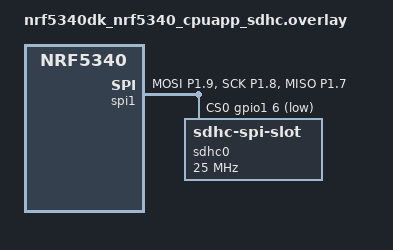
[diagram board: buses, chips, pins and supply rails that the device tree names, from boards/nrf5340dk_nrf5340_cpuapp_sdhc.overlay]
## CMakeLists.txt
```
# SPDX-License-Identifier: Apache-2.0

cmake_minimum_required(VERSION 3.20.0)

find_package(Zephyr REQUIRED HINTS $ENV{ZEPHYR_BASE})
project(i2s_output)

target_sources(app PRIVATE src/main.c src/sdhc.c)
```

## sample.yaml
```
sample:
  description: I2S Output Sample
  name: i2s_output
common:
  tags:
    - drivers
    - i2s
tests:
  sample.drivers.i2s.output:
    filter: dt_alias_exists("i2s-tx")
    integration_platforms:
      - mimxrt1060_evk@B/mimxrt1062/qspi
      - nrf5340dk/nrf5340/cpuapp
    harness: console
    harness_config:
      type: one_line
      regex:
        - "All I2S blocks written"
```

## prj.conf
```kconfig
CONFIG_DISK_ACCESS=y
CONFIG_LOG=y
CONFIG_FILE_SYSTEM=y
CONFIG_FAT_FILESYSTEM_ELM=y
CONFIG_PRINTK=y
CONFIG_MAIN_STACK_SIZE=16384
CONFIG_I2S=y
```

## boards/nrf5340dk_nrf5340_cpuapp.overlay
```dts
/*
 * Copyright (c) 2021 Nordic Semiconductor ASA
 *
 * SPDX-License-Identifier: Apache-2.0
 */

&pinctrl {
	/* i2c0_default_alt: i2c0_default_alt { */
	/* 	group1 { */
	/* 		psels = <NRF_PSEL(TWIM_SDA, 0, 25)>, */
	/* 			<NRF_PSEL(TWIM_SCL, 0, 26)>; */
	/* 	}; */
	/* }; */
	/**/
	/* i2c0_sleep_alt: i2c0_sleep_alt { */
	/* 	group1 { */
	/* 		psels = <NRF_PSEL(TWIM_SDA, 0, 25)>, */
	/* 			<NRF_PSEL(TWIM_SCL, 0, 26)>; */
	/* 		low-power-enable; */
	/* 	}; */
	/* }; */
	/**/
	i2s0_default_alt: i2s0_default_alt {
		group1 {
			psels = <NRF_PSEL(I2S_SCK_M, 1, 14)>,
				<NRF_PSEL(I2S_LRCK_M, 1, 13)>,
				<NRF_PSEL(I2S_SDOUT, 1, 15)>,
				<NRF_PSEL(I2S_SDIN, 1, 12)>;
		};
	};
};

/* &i2c1 { */
/* 	status = "okay"; */
/* 	pinctrl-0 = <&i2c0_default_alt>; */
/* 	pinctrl-1 = <&i2c0_sleep_alt>; */
/* 	pinctrl-names = "default", "sleep"; */
/**/
/* 	wm8731: wm8731@1a { */
/* 		compatible = "wolfson,wm8731"; */
/* 		reg = <0x1a>; */
/* 	}; */
/* }; */

&clock {
	hfclkaudio-frequency = <11289600>;
};

i2s_tx: &i2s0 {
	status = "okay";
	pinctrl-0 = <&i2s0_default_alt>;
	pinctrl-names = "default";
	clock-source = "ACLK";
};
```

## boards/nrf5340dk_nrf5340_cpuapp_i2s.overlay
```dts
/*
 * Copyright (c) 2021 Nordic Semiconductor ASA
 *
 * SPDX-License-Identifier: Apache-2.0
 */

&pinctrl {
	i2s0_default_alt: i2s0_default_alt {
		group1 {
			psels = <NRF_PSEL(I2S_SCK_M, 1, 14)>,
				<NRF_PSEL(I2S_LRCK_M, 1, 13)>,
				<NRF_PSEL(I2S_SDOUT, 1, 15)>,
				<NRF_PSEL(I2S_SDIN, 1, 12)>;

		};
	};
};

&clock {
	hfclkaudio-frequency = <11289600>;
};

i2s_tx: &i2s0 {
	status = "okay";
	pinctrl-0 = <&i2s0_default_alt>;
	pinctrl-names = "default";
	clock-source = "ACLK";
};
```

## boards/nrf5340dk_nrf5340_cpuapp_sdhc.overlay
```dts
/*
 * Copyright (c) 2019 Tavish Naruka <tavishnaruka@gmail.com>
 *
 * SPDX-License-Identifier: Apache-2.0
 */
&pinctrl {
	spi1_default: spi1_default {
		group1 {
			psels = <NRF_PSEL(SPIM_MOSI, 1, 9)>,
					<NRF_PSEL(SPIM_SCK, 1, 8)>,
					<NRF_PSEL(SPIM_MISO, 1, 7)>;
		};
	};

	spi1_sleep: spi1_sleep {
		group1 {
			psels = <NRF_PSEL(SPIM_MOSI, 1, 9)>,
					<NRF_PSEL(SPIM_SCK, 1, 8)>,
					<NRF_PSEL(SPIM_MISO, 1, 7)>;
		};
	};
};

&i2c1 {
	status = "disabled";
};

&spi1 {
	status = "okay";
	cs-gpios = <&gpio1 6 GPIO_ACTIVE_LOW>;
	pinctrl-0 = <&spi1_default>;
	pinctrl-1 = <&spi1_sleep>;
	pinctrl-names = "default", "sleep"; 

	sdhc0: sdhc@0 {
		compatible = "zephyr,sdhc-spi-slot";
		reg = <0>;
		status = "okay";
		mmc {
			compatible = "zephyr,sdmmc-disk";
			disk-name = "SD";
			status = "okay";
		};
		spi-max-frequency = <DT_FREQ_M(25)>;
	};
};
```

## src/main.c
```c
/*
 * Copyright 2023 NXP
 *
 * SPDX-License-Identifier: Apache-2.0
 */

#include <stdio.h>
#include <zephyr/kernel.h>
#include <zephyr/drivers/i2s.h>
#include <zephyr/fs/fs.h>
#include <zephyr/sys/iterable_sections.h>
#include <string.h>
#include <zephyr/logging/log.h>

#include "block.h"
#include "sdhc.h"

LOG_MODULE_REGISTER(main);

int main(void)
{
	if (init_sdhc() != 0)
		return -1;
	
	printk("Inited SDHC");

	struct fs_file_t wavfile;
	fs_file_t_init(&wavfile);

    const char *wav_path = DISK_MOUNT_PT"/music.wav";

	int ret;
    ret = fs_open(&wavfile, wav_path, FS_O_READ);
    if (ret < 0) {
        LOG_ERR("Failed to open file %s (%d)", wav_path, ret);
        return -1;
    }	

	LOG_INF("Opened %s", wav_path);

	uint8_t header[44];
    ssize_t read_bytes = fs_read(&wavfile, header, sizeof(header));
    if (read_bytes < sizeof(header)) {
        LOG_ERR("Failed to read full WAV header");
        fs_close(&wavfile);
        return -1;
    }

	    if (memcmp(header, "RIFF", 4) != 0 || memcmp(&header[8], "WAVE", 4) != 0) {
        LOG_ERR("Not a valid WAV file");
        fs_close(&wavfile);
        return -1;
    }

    uint16_t audio_format = header[20] | (header[21] << 8);
    uint16_t num_channels = header[22] | (header[23] << 8);
    uint32_t sample_rate  = header[24] | (header[25] << 8) | (header[26] << 16) | (header[27] << 24);
    uint16_t bits_per_sample = header[34] | (header[35] << 8);
	uint16_t frame_size = num_channels * (bits_per_sample / 8);

    LOG_INF("WAV format: %d Hz, %d-bit, %d channels, format code %d, frame_size %d",
        sample_rate, bits_per_sample, num_channels, audio_format, frame_size);

	struct i2s_config i2s_cfg;
	const struct device *dev_i2s = DEVICE_DT_GET(DT_NODELABEL(i2s_tx));

	if (!device_is_ready(dev_i2s)) {
		printf("I2S device not ready\n");
		return -ENODEV;
	}

	/* Configure I2S stream */
	i2s_cfg.word_size = bits_per_sample;
	i2s_cfg.channels = num_channels;
	i2s_cfg.format = I2S_FMT_DATA_FORMAT_I2S;
	i2s_cfg.frame_clk_freq = sample_rate;
	i2s_cfg.block_size = BLOCK_SIZE;
	i2s_cfg.timeout = 2000;
	/* Configure the Transmit port as Master */
	i2s_cfg.options = I2S_OPT_FRAME_CLK_MASTER | I2S_OPT_BIT_CLK_MASTER;
	i2s_cfg.mem_slab = &tx_0_mem_slab;
	ret = i2s_configure(dev_i2s, I2S_DIR_TX, &i2s_cfg);
	if (ret < 0) {
		printf("Failed to configure I2S stream\n");
		return ret;
	}
	printk("i2s READY\n");
	uint8_t *buffer;
	for (int i = 0; i < NUM_BLOCKS; i++) {
		ret = k_mem_slab_alloc(&tx_0_mem_slab,(void **)&buffer, K_FOREVER);
		if (ret < 0) {
			printf("Failed to allocate TX block\n");
			return ret;
		}

		ret = fs_read(&wavfile, buffer, BLOCK_SIZE);

		/* Send first block */
		ret = i2s_write(dev_i2s, buffer, BLOCK_SIZE);
		switch (ret) {
			case -EIO:
				printf("Could not write TX buffer -EIO\n");
				return ret;
			case -EBUSY:
				printf("Could not write TX buffer -EBUSY\n");
				return ret;
			case -EAGAIN:
				printf("Could not write TX buffer -EAGAIN\n");
				goto i2s_start;
			case -ENOMEM:
				printf("Could not write TX buffer -ENOMEM\n");
				return;
			case -EINVAL:
				printf("Could not write TX buffer -EINVAL\n");
				return;
		}
		printk("Preallocated block\n");
	}
i2s_start:
	printk("Sent first block\n");

	/* Trigger the I2S transmission */
	ret = i2s_trigger(dev_i2s, I2S_DIR_TX, I2S_TRIGGER_START);
	if (ret < 0) {
		printf("Could not trigger I2S tx\n");
		return ret;
	}
	printk("i2s RUNNING\n");
	ssize_t bytes_read;
	while (1) {
		ret = k_mem_slab_alloc(&tx_0_mem_slab, (void **)&buffer, K_FOREVER);
		if (ret < 0) {
			LOG_ERR("Failed to allocate TX block");
			return ret;
		}

		bytes_read = fs_read(&wavfile, buffer, BLOCK_SIZE);
		if (bytes_read <= 0) {
			k_mem_slab_free(&tx_0_mem_slab, (void **)&buffer);  // optional: free unused block
			break;
		}

		// Optional zero-padding
		if (bytes_read < BLOCK_SIZE) {
			memset(buffer + bytes_read, 0, BLOCK_SIZE - bytes_read);
		}

		while ((ret = i2s_write(dev_i2s, buffer, BLOCK_SIZE)) == -EAGAIN || ret == -EBUSY) {
			k_sleep(K_MSEC(1));
		}
		if (ret < 0) {
			LOG_ERR("i2s_write failed: %d", ret);
			i2s_trigger(dev_i2s, I2S_DIR_TX, I2S_TRIGGER_PREPARE);
			return ret;
		} else if (ret == 0) {
			printk("Wrote block bytes_read %d \n", bytes_read);
		}
	}
	/* Drain TX queue */
	ret = i2s_trigger(dev_i2s, I2S_DIR_TX, I2S_TRIGGER_DRAIN);
	if (ret < 0) {
		printf("Could not trigger I2S tx\n");
		return ret;
	}

	printf("All I2S blocks written\n");
	fs_close(&wavfile);
	deinit_sdhc();

	return 0;
}
```

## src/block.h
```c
#pragma once
#include <zephyr/kernel.h>
#include <zephyr/sys/iterable_sections.h>

#define NUM_BLOCKS 10
#define BLOCK_SIZE 1200

#ifdef CONFIG_NOCACHE_MEMORY
#define MEM_SLAB_CACHE_ATTR __nocache
#else
#define MEM_SLAB_CACHE_ATTR
#endif /* CONFIG_NOCACHE_MEMORY */

static char MEM_SLAB_CACHE_ATTR
	__aligned(WB_UP(32)) _k_mem_slab_buf_tx_0_mem_slab[(NUM_BLOCKS)*WB_UP(BLOCK_SIZE)];

static STRUCT_SECTION_ITERABLE(k_mem_slab, tx_0_mem_slab) = Z_MEM_SLAB_INITIALIZER(
	tx_0_mem_slab, _k_mem_slab_buf_tx_0_mem_slab, WB_UP(BLOCK_SIZE), NUM_BLOCKS);
```

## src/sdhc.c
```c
/*
 * Copyright (c) 2019 Tavish Naruka <tavishnaruka@gmail.com>
 * Copyright (c) 2023 Nordic Semiconductor ASA
 * Copyright (c) 2023 Antmicro <www.antmicro.com>
 *
 * SPDX-License-Identifier: Apache-2.0
 */
#include "sdhc.h"

#include <zephyr/kernel.h>
#include <zephyr/device.h>
#include <zephyr/storage/disk_access.h>
#include <zephyr/logging/log.h>
#include <zephyr/fs/fs.h>

LOG_MODULE_REGISTER(sdhc);

static const char *disk_mount_pt = DISK_MOUNT_PT;

static FATFS fat_fs;
struct fs_mount_t mp = {
	.type = FS_FATFS,
	.fs_data = &fat_fs,
};

int init_sdhc()
{
 	printk("Initializing SDHC Card");
	/* raw disk i/o */

	static const char *disk_pdrv = DISK_DRIVE_NAME;
	uint64_t memory_size_mb;
	uint32_t block_count;
	uint32_t block_size;

	if (disk_access_ioctl(disk_pdrv,
			DISK_IOCTL_CTRL_INIT, NULL) != 0) {
		LOG_ERR("Storage init ERROR!");
		return -1;
	}

	if (disk_access_ioctl(disk_pdrv,
			DISK_IOCTL_GET_SECTOR_COUNT, &block_count)) {
		LOG_ERR("Unable to get sector count");
		return -1;
	}
	LOG_INF("Block count %u", block_count);

	if (disk_access_ioctl(disk_pdrv,
			DISK_IOCTL_GET_SECTOR_SIZE, &block_size)) {
		LOG_ERR("Unable to get sector size");
		return -1;
	}
	printk("Sector size %u\n", block_size);

	memory_size_mb = (uint64_t)block_count * block_size;
	printk("Memory Size(MB) %u\n", (uint32_t)(memory_size_mb >> 20));

	if (disk_access_ioctl(disk_pdrv,
			DISK_IOCTL_CTRL_DEINIT, NULL) != 0) {
		LOG_ERR("Storage deinit ERROR!");
		return -1;
	}

	mp.mnt_point = disk_mount_pt;

	int res = fs_mount(&mp);
	if (res == FS_RET_OK) {
		printk("Disk mounted.\n");
	} else {
		LOG_ERR("Error mounting disk.\n");
		return -1;
	}

	return 0;
}

int deinit_sdhc() {
	int res = fs_unmount(&mp);
	if (res != FS_RET_OK) {
		printk("Error unmounting disk\n");
		return res;
	}
	return 0;
}

/* List dir entry by path
 *
 * @param path Absolute path to list
 *
 * @return Negative errno code on error, number of listed entries on
 *         success.
 */
static int lsdir(const char *path)
{
	int res;
	struct fs_dir_t dirp;
	static struct fs_dirent entry;
	int count = 0;

	fs_dir_t_init(&dirp);

	/* Verify fs_opendir() */
	res = fs_opendir(&dirp, path);
	if (res) {
		printk("Error opening dir %s [%d]\n", path, res);
		return res;
	}

	printk("\nListing dir %s ...\n", path);
	for (;;) {
		/* Verify fs_readdir() */
		res = fs_readdir(&dirp, &entry);

		/* entry.name[0] == 0 means end-of-dir */
		if (res || entry.name[0] == 0) {
			break;
		}

		if (entry.type == FS_DIR_ENTRY_DIR) {
			printk("[DIR ] %s\n", entry.name);
		} else {
			printk("[FILE] %s (size = %zu)\n",
				entry.name, entry.size);
		}
		count++;
	}

	/* Verify fs_closedir() */
	fs_closedir(&dirp);
	if (res == 0) {
		res = count;
	}

	return res;
}
```

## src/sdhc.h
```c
#pragma once
#include <ff.h>

/*
 *  Note the fatfs library is able to mount only strings inside _VOLUME_STRS
 *  in ffconf.h
 */
#define DISK_DRIVE_NAME "SD"

#define DISK_MOUNT_PT "/"DISK_DRIVE_NAME":"

/* mounting info */
extern struct fs_mount_t mp;

#define FS_RET_OK FR_OK

int init_sdhc();
int deinit_sdhc();
// static int lsdir(const char *path);
```
